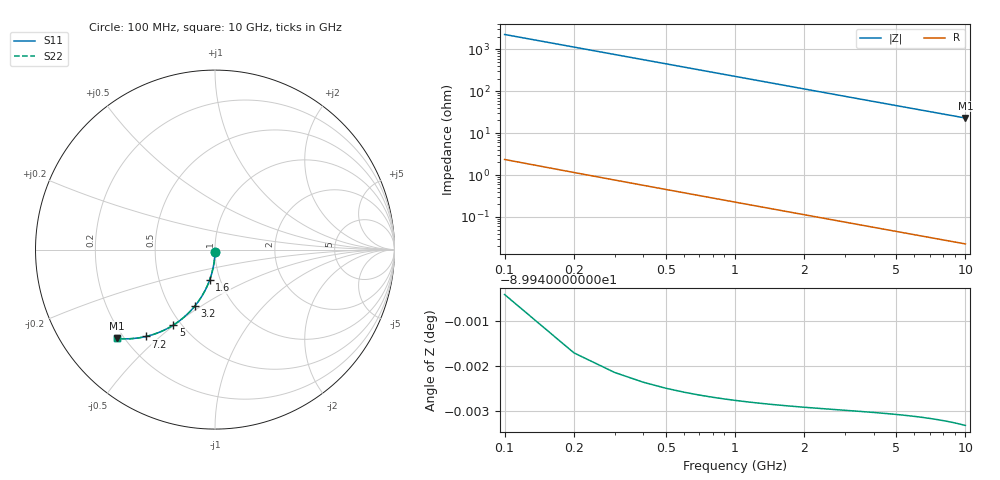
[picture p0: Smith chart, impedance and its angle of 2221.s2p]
# Hz S RI R 50.00
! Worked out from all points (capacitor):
!   100 points, 100 MHz to 10 GHz, reference 50 ohm
!   read as one part in shunt: C = 705 fF near 100 MHz
!   lowest |Z| = 22.9 ohm at 10 GHz (marker M1)
!   S11 on the Smith chart (normalised r, x): 100 MHz: 1.00, -0.02; 1.6 GHz: 0.89, -0.31; 3.2 GHz: 0.67, -0.47; 5 GHz: 0.45, -0.50; 7.2 GHz: 0.29, -0.45; 10 GHz: 0.17, -0.38
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1e8  -0.000127 -0.011  0.9999 -0.0111  0.9999 -0.0111  -0.000127 -0.011
2e8  -0.000505 -0.0221  0.9995 -0.0222  0.9995 -0.0222  -0.000505 -0.0221
3e8  -0.00113 -0.0331  0.9989 -0.0332  0.9989 -0.0332  -0.00113 -0.0331
4e8  -0.00199 -0.0441  0.998 -0.0443  0.998 -0.0443  -0.00199 -0.0441
5e8  -0.0031 -0.055  0.9969 -0.0553  0.9969 -0.0553  -0.0031 -0.055
6e8  -0.00445 -0.0659  0.9955 -0.0662  0.9955 -0.0662  -0.00445 -0.0659
7e8  -0.00603 -0.0768  0.994 -0.0772  0.994 -0.0772  -0.00603 -0.0768
9e8  -0.0099 -0.0983  0.9901 -0.0988  0.9901 -0.0988  -0.0099 -0.0983
1.2e9  -0.0174 -0.1301  0.9826 -0.1307  0.9826 -0.1307  -0.0174 -0.1301
1.6e9  -0.0305 -0.171  0.9695 -0.1718  0.9695 -0.1718  -0.0305 -0.171
1.8e9  -0.0382 -0.1908  0.9618 -0.1917  0.9618 -0.1917  -0.0382 -0.1908
2.4e9  -0.0658 -0.2469  0.9342 -0.2481  0.9342 -0.2481  -0.0658 -0.2469
2.8e9  -0.0874 -0.2812  0.9126 -0.2826  0.9126 -0.2826  -0.0874 -0.2812
3.2e9  -0.111 -0.3128  0.889 -0.3145  0.889 -0.3145  -0.111 -0.3128
3.4e9  -0.1235 -0.3276  0.8765 -0.3294  0.8765 -0.3294  -0.1235 -0.3276
4.2e9  -0.1765 -0.3796  0.8235 -0.3818  0.8235 -0.3818  -0.1765 -0.3796
5e9  -0.2325 -0.4206  0.7675 -0.4232  0.7675 -0.4232  -0.2325 -0.4206
5.1e9  -0.2396 -0.425  0.7604 -0.4277  0.7604 -0.4277  -0.2396 -0.425
6.7e9  -0.3511 -0.475  0.6489 -0.4786  0.6489 -0.4786  -0.3511 -0.475
7.2e9  -0.3843 -0.484  0.6157 -0.4879  0.6157 -0.4879  -0.3843 -0.484
8.4e9  -0.4586 -0.4955  0.5414 -0.5  0.5414 -0.5  -0.4586 -0.4955
1e10  -0.5447 -0.4948  0.4553 -0.5002  0.4553 -0.5002  -0.5447 -0.4948
